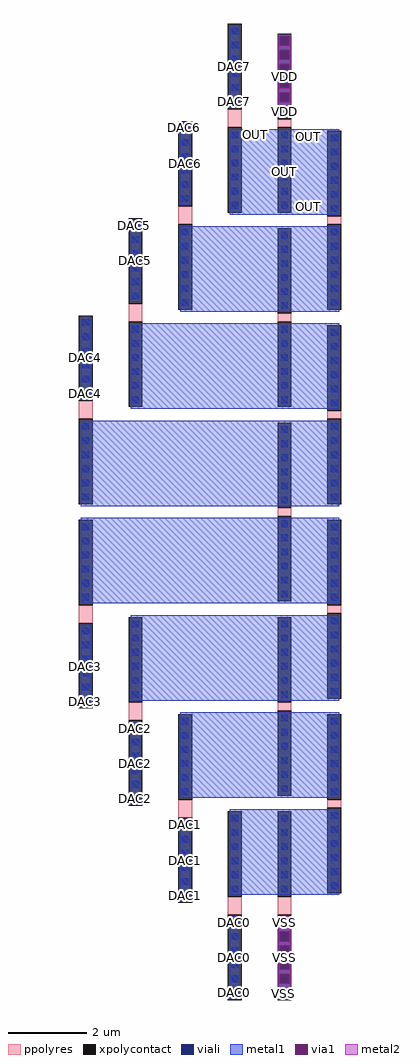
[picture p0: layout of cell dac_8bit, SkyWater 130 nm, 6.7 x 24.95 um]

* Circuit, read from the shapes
.subckt dac_8bit OUT DAC5 DAC6 DAC7 DAC4 DAC3 DAC2 DAC1 DAC0 VDD VSS
XR1 n1 DAC3 VSUBS sky130_fd_pr__res_high_po w=0.35 l=0.46
XR2 DAC4 n2 VSUBS sky130_fd_pr__res_high_po w=0.35 l=0.46
XR3 n3 DAC2 VSUBS sky130_fd_pr__res_high_po w=0.35 l=0.46
XR4 DAC5 n4 VSUBS sky130_fd_pr__res_high_po w=0.35 l=0.46
XR5 n5 DAC1 VSUBS sky130_fd_pr__res_high_po w=0.35 l=0.46
XR6 DAC6 n6 VSUBS sky130_fd_pr__res_high_po w=0.35 l=0.46
XR7 n7 DAC0 VSUBS sky130_fd_pr__res_high_po w=0.35 l=0.46
XR8 DAC7 OUT VSUBS sky130_fd_pr__res_high_po w=0.35 l=0.46
XR9 n7 VSS VSUBS sky130_fd_pr__res_high_po w=0.35 l=0.46
XR10 n3 n5 VSUBS sky130_fd_pr__res_high_po w=0.35 l=0.21
XR11 n2 n1 VSUBS sky130_fd_pr__res_high_po w=0.35 l=0.21
XR12 n6 n4 VSUBS sky130_fd_pr__res_high_po w=0.35 l=0.21
XR13 VDD OUT VSUBS sky130_fd_pr__res_high_po w=0.35 l=0.21
XR14 n5 n7 VSUBS sky130_fd_pr__res_high_po w=0.35 l=0.21
XR15 n1 n3 VSUBS sky130_fd_pr__res_high_po w=0.35 l=0.21
XR16 n4 n2 VSUBS sky130_fd_pr__res_high_po w=0.35 l=0.21
XR17 OUT n6 VSUBS sky130_fd_pr__res_high_po w=0.35 l=0.21
.ends

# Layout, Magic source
magic
tech sky130A
magscale 1 2
<< metal1 >>
rect 864 4603 914 5024
rect 1111 4970 1175 4976
rect 1111 4918 1117 4970
rect 1169 4918 1175 4970
rect 1111 4898 1175 4918
rect 1111 4846 1117 4898
rect 1169 4846 1175 4898
rect 1111 4826 1175 4846
rect 1111 4774 1117 4826
rect 1169 4774 1175 4826
rect 1111 4754 1175 4774
rect 1111 4702 1117 4754
rect 1169 4702 1175 4754
rect 1111 4682 1175 4702
rect 1111 4630 1117 4682
rect 1169 4630 1175 4682
rect 1111 4610 1175 4630
rect 1111 4558 1117 4610
rect 1169 4558 1175 4610
rect 1111 4552 1175 4558
rect 610 4106 660 4527
rect 864 4056 1422 4493
rect 356 3609 406 4030
rect 610 3559 1422 3996
rect 102 3112 152 3533
rect 356 3062 1422 3499
rect 102 2565 1422 3002
rect 102 2068 1422 2505
rect 102 1537 152 1958
rect 356 1571 1422 2008
rect 356 1040 406 1461
rect 610 1074 1422 1511
rect 610 543 660 964
rect 864 577 1422 1014
rect 864 46 914 467
rect 1111 463 1175 469
rect 1111 411 1117 463
rect 1169 411 1175 463
rect 1111 391 1175 411
rect 1111 339 1117 391
rect 1169 339 1175 391
rect 1111 319 1175 339
rect 1111 267 1117 319
rect 1169 267 1175 319
rect 1111 247 1175 267
rect 1111 195 1117 247
rect 1169 195 1175 247
rect 1111 175 1175 195
rect 1111 123 1117 175
rect 1169 123 1175 175
rect 1111 103 1175 123
rect 1111 51 1117 103
rect 1169 51 1175 103
rect 1111 45 1175 51
<< via1 >>
rect 1117 4918 1169 4970
rect 1117 4846 1169 4898
rect 1117 4774 1169 4826
rect 1117 4702 1169 4754
rect 1117 4630 1169 4682
rect 1117 4558 1169 4610
rect 1117 411 1169 463
rect 1117 339 1169 391
rect 1117 267 1169 319
rect 1117 195 1169 247
rect 1117 123 1169 175
rect 1117 51 1169 103
<< metal2 >>
rect 1111 4970 1175 4976
rect 1111 4918 1117 4970
rect 1169 4918 1175 4970
rect 1111 4898 1175 4918
rect 1111 4846 1117 4898
rect 1169 4846 1175 4898
rect 1111 4826 1175 4846
rect 1111 4774 1117 4826
rect 1169 4774 1175 4826
rect 1111 4754 1175 4774
rect 1111 4702 1117 4754
rect 1169 4702 1175 4754
rect 1111 4682 1175 4702
rect 1111 4630 1117 4682
rect 1169 4630 1175 4682
rect 1111 4610 1175 4630
rect 1111 4558 1117 4610
rect 1169 4558 1175 4610
rect 1111 4552 1175 4558
rect 1111 463 1175 469
rect 1111 411 1117 463
rect 1169 411 1175 463
rect 1111 391 1175 411
rect 1111 339 1117 391
rect 1169 339 1175 391
rect 1111 319 1175 339
rect 1111 267 1117 319
rect 1169 267 1175 319
rect 1111 247 1175 267
rect 1111 195 1117 247
rect 1169 195 1175 247
rect 1111 175 1175 195
rect 1111 123 1117 175
rect 1169 123 1175 175
rect 1111 103 1175 123
rect 1111 51 1117 103
rect 1169 51 1175 103
rect 1111 45 1175 51
use res_poly$5  res_poly$5_0
transform 1 0 508 0 1 497
box 92 40 162 1004
use res_poly$5  res_poly$5_1
transform 1 0 762 0 1 0
box 92 40 162 1004
use res_poly$5  res_poly$5_2
transform 1 0 508 0 1 3529
box 92 40 162 1004
use res_poly$5  res_poly$5_3
transform 1 0 762 0 1 4026
box 92 40 162 1004
use res_poly$5  res_poly$5_4
transform 1 0 1016 0 1 0
box 92 40 162 1004
use res_poly$5  res_poly$5_5
transform 1 0 0 0 1 1491
box 92 40 162 1004
use res_poly$5  res_poly$5_6
transform 1 0 254 0 1 3032
box 92 40 162 1004
use res_poly$5  res_poly$5_7
transform 1 0 254 0 1 994
box 92 40 162 1004
use res_poly$5  res_poly$5_8
transform 1 0 0 0 1 2535
box 92 40 162 1004
use res_poly  res_poly_0
transform 1 0 1270 0 1 1541
box 92 40 162 954
use res_poly  res_poly_1
transform 1 0 1016 0 1 4026
box 92 40 162 954
use res_poly  res_poly_2
transform 1 0 1016 0 1 3032
box 92 40 162 954
use res_poly  res_poly_3
transform 1 0 1270 0 1 3529
box 92 40 162 954
use res_poly  res_poly_4
transform 1 0 1270 0 1 2535
box 92 40 162 954
use res_poly  res_poly_5
transform 1 0 1270 0 1 547
box 92 40 162 954
use res_poly  res_poly_6
transform 1 0 1016 0 1 1044
box 92 40 162 954
use res_poly  res_poly_7
transform 1 0 1016 0 1 2038
box 92 40 162 954
<< labels >>
flabel metal1 s 864 4056 1422 4492 0 FreeSans 44 0 0 0 OUT
port 2 nsew
flabel metal1 s 1007 4278 1007 4278 0 FreeSans 44 0 0 0 OUT
flabel metal1 s 993 4467 993 4467 0 FreeSans 44 0 0 0 OUT
flabel metal1 s 356 3609 406 4030 0 FreeSans 44 0 0 0 DAC5
port 3 nsew
flabel metal1 s 381 3822 381 3822 0 FreeSans 44 0 0 0 DAC5
flabel metal1 s 378 4002 378 4002 0 FreeSans 44 0 0 0 DAC5
flabel metal1 s 610 4106 660 4527 0 FreeSans 44 0 0 0 DAC6
port 4 nsew
flabel metal1 s 864 4603 914 5024 0 FreeSans 44 0 0 0 DAC7
port 5 nsew
flabel metal1 s 633 4499 633 4499 0 FreeSans 44 0 0 0 DAC6
flabel metal1 s 635 4314 635 4314 0 FreeSans 44 0 0 0 DAC6
flabel metal1 s 887 4633 887 4633 0 FreeSans 44 0 0 0 DAC7
flabel metal1 s 887 4814 887 4814 0 FreeSans 44 0 0 0 DAC7
flabel metal1 s 1266 4456 1266 4456 0 FreeSans 44 0 0 0 OUT
flabel metal1 s 1265 4291 1265 4291 0 FreeSans 44 0 0 0 OUT
flabel metal1 s 1266 4098 1266 4098 0 FreeSans 44 0 0 0 OUT
flabel metal1 s 102 3112 152 3533 0 FreeSans 44 0 0 0 DAC4
port 6 nsew
flabel metal1 s 125 3322 125 3322 0 FreeSans 44 0 0 0 DAC4
flabel metal1 s 125 3142 125 3142 0 FreeSans 44 0 0 0 DAC4
flabel metal1 s 102 1537 152 1957 0 FreeSans 44 0 0 0 DAC3
port 7 nsew
flabel metal1 s 128 1753 128 1753 0 FreeSans 44 0 0 0 DAC3
flabel metal1 s 126 1568 126 1568 0 FreeSans 44 0 0 0 DAC3
flabel metal1 s 356 1040 406 1460 0 FreeSans 44 0 0 0 DAC2
port 8 nsew
flabel metal1 s 379 1429 379 1429 0 FreeSans 44 0 0 0 DAC2
flabel metal1 s 382 1072 382 1072 0 FreeSans 44 0 0 0 DAC2
flabel metal1 s 610 543 660 963 0 FreeSans 44 0 0 0 DAC1
port 9 nsew
flabel metal1 s 638 937 638 937 0 FreeSans 44 0 0 0 DAC1
flabel metal1 s 636 574 636 574 0 FreeSans 44 0 0 0 DAC1
flabel metal1 s 864 46 914 466 0 FreeSans 44 0 0 0 DAC0
port 10 nsew
flabel metal1 s 888 437 888 437 0 FreeSans 44 0 0 0 DAC0
flabel metal1 s 888 77 888 77 0 FreeSans 44 0 0 0 DAC0
flabel metal2 s 1111 4552 1175 4976 0 FreeSans 44 0 0 0 VDD
port 12 nsew
flabel metal2 s 1142 4767 1142 4767 0 FreeSans 44 0 0 0 VDD
flabel metal2 s 1142 4583 1142 4583 0 FreeSans 44 0 0 0 VDD
flabel metal2 s 1111 45 1175 469 0 FreeSans 44 0 0 0 VSS
port 13 nsew
flabel metal2 s 1140 75 1140 75 0 FreeSans 44 0 0 0 VSS
flabel metal2 s 1141 436 1141 436 0 FreeSans 44 0 0 0 VSS
<< end >>

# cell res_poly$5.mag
magic
tech sky130A
magscale 1 2
<< xpolycontact >>
rect 92 568 162 1004
rect 92 40 162 476
<< ppolyres >>
rect 92 476 162 568
<< viali >>
rect 110 951 144 985
rect 110 879 144 913
rect 110 807 144 841
rect 110 735 144 769
rect 110 663 144 697
rect 110 591 144 625
rect 110 420 144 454
rect 110 348 144 382
rect 110 276 144 310
rect 110 204 144 238
rect 110 132 144 166
rect 110 60 144 94
<< metal1 >>
rect 102 985 152 998
rect 102 951 110 985
rect 144 951 152 985
rect 102 913 152 951
rect 102 879 110 913
rect 144 879 152 913
rect 102 841 152 879
rect 102 807 110 841
rect 144 807 152 841
rect 102 769 152 807
rect 102 735 110 769
rect 144 735 152 769
rect 102 697 152 735
rect 102 663 110 697
rect 144 663 152 697
rect 102 625 152 663
rect 102 591 110 625
rect 144 591 152 625
rect 102 577 152 591
rect 102 454 152 467
rect 102 420 110 454
rect 144 420 152 454
rect 102 382 152 420
rect 102 348 110 382
rect 144 348 152 382
rect 102 310 152 348
rect 102 276 110 310
rect 144 276 152 310
rect 102 238 152 276
rect 102 204 110 238
rect 144 204 152 238
rect 102 166 152 204
rect 102 132 110 166
rect 144 132 152 166
rect 102 94 152 132
rect 102 60 110 94
rect 144 60 152 94
rect 102 46 152 60
<< end >>

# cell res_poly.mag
magic
tech sky130A
magscale 1 2
<< xpolycontact >>
rect 92 518 162 954
rect 92 40 162 476
<< ppolyres >>
rect 92 476 162 518
<< viali >>
rect 110 901 144 935
rect 110 829 144 863
rect 110 757 144 791
rect 110 685 144 719
rect 110 613 144 647
rect 110 541 144 575
rect 110 420 144 454
rect 110 348 144 382
rect 110 276 144 310
rect 110 204 144 238
rect 110 132 144 166
rect 110 60 144 94
<< metal1 >>
rect 102 935 152 948
rect 102 901 110 935
rect 144 901 152 935
rect 102 863 152 901
rect 102 829 110 863
rect 144 829 152 863
rect 102 791 152 829
rect 102 757 110 791
rect 144 757 152 791
rect 102 719 152 757
rect 102 685 110 719
rect 144 685 152 719
rect 102 647 152 685
rect 102 613 110 647
rect 144 613 152 647
rect 102 575 152 613
rect 102 541 110 575
rect 144 541 152 575
rect 102 527 152 541
rect 102 454 152 467
rect 102 420 110 454
rect 144 420 152 454
rect 102 382 152 420
rect 102 348 110 382
rect 144 348 152 382
rect 102 310 152 348
rect 102 276 110 310
rect 144 276 152 310
rect 102 238 152 276
rect 102 204 110 238
rect 144 204 152 238
rect 102 166 152 204
rect 102 132 110 166
rect 144 132 152 166
rect 102 94 152 132
rect 102 60 110 94
rect 144 60 152 94
rect 102 46 152 60
<< end >>
